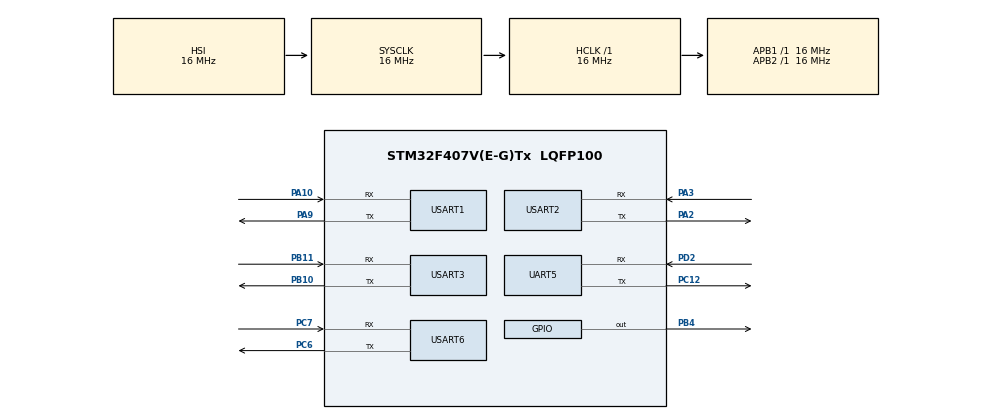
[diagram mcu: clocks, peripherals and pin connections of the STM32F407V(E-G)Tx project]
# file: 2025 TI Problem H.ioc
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Mcu.Family=STM32F4
Mcu.Name=STM32F407V(E-G)Tx
Mcu.Package=LQFP100
NVIC.PriorityGroup=NVIC_PRIORITYGROUP_4
NVIC.UART5_IRQn=true\:0\:0\:false\:false\:true\:true\:true\:true
NVIC.USART1_IRQn=true\:0\:0\:false\:false\:true\:true\:true\:true
NVIC.USART2_IRQn=true\:0\:0\:false\:false\:true\:true\:true\:true
NVIC.USART3_IRQn=true\:0\:0\:false\:false\:true\:true\:true\:true
NVIC.USART6_IRQn=true\:0\:0\:false\:false\:true\:true\:true\:true
PA10.Mode=Asynchronous
PA10.Signal=USART1_RX
PA13.Signal=SYS_JTMS-SWDIO
PA14.Signal=SYS_JTCK-SWCLK
PA2.Mode=Asynchronous
PA2.Signal=USART2_TX
PA3.Mode=Asynchronous
PA3.Signal=USART2_RX
PA9.Mode=Asynchronous
PA9.Signal=USART1_TX
PB10.Mode=Asynchronous
PB10.Signal=USART3_TX
PB11.Mode=Asynchronous
PB11.Signal=USART3_RX
PB4.Signal=GPIO_Output
PC12.Mode=Asynchronous
PC12.Signal=UART5_TX
PC6.Mode=Asynchronous
PC6.Signal=USART6_TX
PC7.Mode=Asynchronous
PC7.Signal=USART6_RX
PD2.Mode=Asynchronous
PD2.Signal=UART5_RX
PH0-OSC_IN.Mode=HSE-External-Oscillator
PH0-OSC_IN.Signal=RCC_OSC_IN
PH1-OSC_OUT.Mode=HSE-External-Oscillator
PH1-OSC_OUT.Signal=RCC_OSC_OUT
ProjectManager.HeapSize=0x200
ProjectManager.StackSize=0x400
ProjectManager.TargetToolchain=MDK-ARM V5.32
RCC.AHBFreq_Value=16000000
RCC.APB1Freq_Value=16000000
RCC.APB2Freq_Value=16000000
RCC.CortexFreq_Value=16000000
RCC.HSE_VALUE=25000000
RCC.HSI_VALUE=16000000
RCC.LSE_VALUE=32768
RCC.SYSCLKFreq_VALUE=16000000
RCC.VCOOutputFreq_Value=192000000
UART5.VirtualMode=Asynchronous
USART1.VirtualMode=VM_ASYNC
USART2.VirtualMode=VM_ASYNC
USART3.VirtualMode=VM_ASYNC
USART6.VirtualMode=VM_ASYNC
board=custom

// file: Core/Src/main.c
/* USER CODE BEGIN Header */
/**
 ******************************************************************************
 * @file           : main.c
 * @brief          : Main program body
 ******************************************************************************
 * @attention
 *
 * Copyright (c) 2026 STMicroelectronics.
 * All rights reserved.
 *
 * This software is licensed under terms that can be found in the LICENSE file
 * in the root directory of this software component.
 * If no LICENSE file comes with this software, it is provided AS-IS.
 *
 ******************************************************************************
 */
/* USER CODE END Header */
#include "main.h"
#include "usart.h"
#include "gpio.h"

/* USER CODE BEGIN Includes */
#include "telecom.h"
#include "location.h"
#include "move.h"
#include "transmit.h"
#include "decision.h"
#include <stdio.h>
/* USER CODE END Includes */

void SystemClock_Config(void);

int main(void)
{

  /* MCU Configuration--------------------------------------------------------*/

  /* Reset of all peripherals, Initializes the Flash interface and the Systick. */
  HAL_Init();

  /* Configure the system clock */
  SystemClock_Config();

  /* Initialize all configured peripherals */
  MX_GPIO_Init();
  MX_USART1_UART_Init();
  MX_USART2_UART_Init();
  MX_USART3_UART_Init();
  MX_USART6_UART_Init();
  MX_UART5_Init();
  /* USER CODE BEGIN 2 */
  Telecom_Init();
  Location_InitWaypoints();
  Move_Init();
  Decision_Init();
  Transmit_Init();

  /* USER CODE END 2 */

  /* Infinite loop */
  while (1)
  {

    /* USER CODE BEGIN 3 */
    Telecom_Update();

    Move_Update();
    Decision_Update();
    Transmit_Update();
    Transmit_UpdateUsart2();
  }
  /* USER CODE END 3 */
}

void SystemClock_Config(void)
{
  RCC_OscInitTypeDef RCC_OscInitStruct = {0};
  RCC_ClkInitTypeDef RCC_ClkInitStruct = {0};

  /** Configure the main internal regulator output voltage
  */
  __HAL_RCC_PWR_CLK_ENABLE();
  __HAL_PWR_VOLTAGESCALING_CONFIG(PWR_REGULATOR_VOLTAGE_SCALE1);

  /** Initializes the RCC Oscillators according to the specified parameters
  * in the RCC_OscInitTypeDef structure.
  */
  RCC_OscInitStruct.OscillatorType = RCC_OSCILLATORTYPE_HSI;
  RCC_OscInitStruct.HSIState = RCC_HSI_ON;
  RCC_OscInitStruct.HSICalibrationValue = RCC_HSICALIBRATION_DEFAULT;
  RCC_OscInitStruct.PLL.PLLState = RCC_PLL_NONE;
  if (HAL_RCC_OscConfig(&RCC_OscInitStruct) != HAL_OK)
  {
    Error_Handler();
  }

  /** Initializes the CPU, AHB and APB buses clocks
  */
  RCC_ClkInitStruct.ClockType = RCC_CLOCKTYPE_HCLK|RCC_CLOCKTYPE_SYSCLK
                              |RCC_CLOCKTYPE_PCLK1|RCC_CLOCKTYPE_PCLK2;
  RCC_ClkInitStruct.SYSCLKSource = RCC_SYSCLKSOURCE_HSI;
  RCC_ClkInitStruct.AHBCLKDivider = RCC_SYSCLK_DIV1;
  RCC_ClkInitStruct.APB1CLKDivider = RCC_HCLK_DIV1;
  RCC_ClkInitStruct.APB2CLKDivider = RCC_HCLK_DIV1;

  if (HAL_RCC_ClockConfig(&RCC_ClkInitStruct, FLASH_LATENCY_0) != HAL_OK)
  {
    Error_Handler();
  }
}

void Error_Handler(void)
{
  __disable_irq();
  while (1)
  {
  }
}
